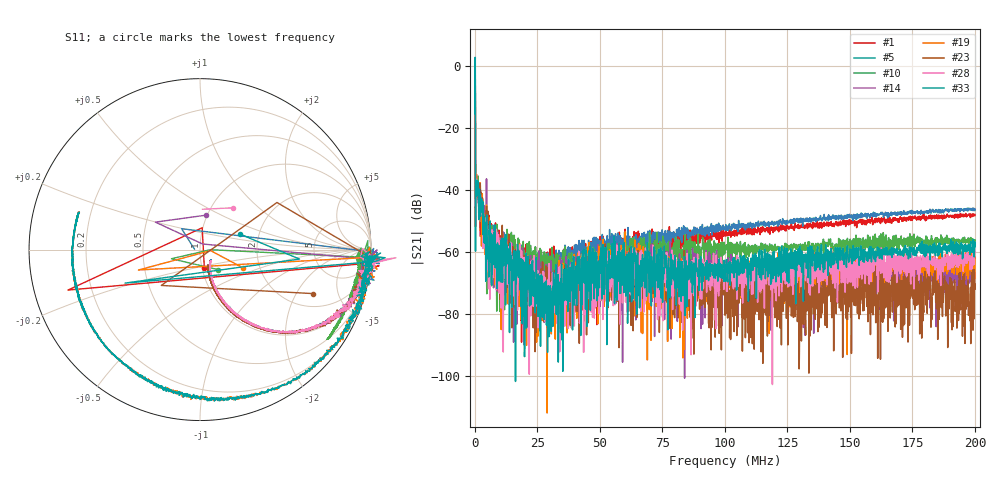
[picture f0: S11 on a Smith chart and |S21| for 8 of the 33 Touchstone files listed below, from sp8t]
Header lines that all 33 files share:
! CHANNEL.1
! TR.MEASUREMENT
! CORRECTED.DATA
# GHZ S RI R 50.0
! FREQ.GHZ  S11RE  S11IM  S21RE  S21IM  S12RE  S12IM  S22RE  S22IM
!; PortSelection: Port_12
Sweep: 50 kHz to 200 MHz
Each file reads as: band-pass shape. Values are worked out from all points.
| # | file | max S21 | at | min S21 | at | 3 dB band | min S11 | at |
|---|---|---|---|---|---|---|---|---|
| 1 | sp8t_p1_rf2.s2p | -3.17 dB | 150 kHz | -89.2 dB | 18.65 MHz | 150 kHz-150 kHz | -21.2 dB | 199.4 MHz |
| 2 | sp8t_p1_rf3.s2p | 8.38 dB | 150 kHz | -88.8 dB | 12.65 MHz | 150 kHz-150 kHz | -21.3 dB | 199.9 MHz |
| 3 | sp8t_p1_rf4.s2p | -3.99 dB | 150 kHz | -87.6 dB | 14.85 MHz | 50 kHz-150 kHz | -4.0 dB | 150 kHz |
| 4 | sp8t_p1_rf5.s2p | -4.62 dB | 150 kHz | -83.2 dB | 10.15 MHz | 150 kHz-150 kHz | -22.1 dB | 150 kHz |
| 5 | sp8t_p1_rf6.s2p | -4.33 dB | 150 kHz | -89.0 dB | 15.65 MHz | 150 kHz-150 kHz | -29.7 dB | 150 kHz |
| 6 | sp8t_p1_rf7.s2p | -8.28 dB | 150 kHz | -84.0 dB | 17.65 MHz | 150 kHz-150 kHz | -20.9 dB | 200 MHz |
| 7 | sp8t_p1_rf8.s2p | -0.27 dB | 50 kHz | -87.3 dB | 24.46 MHz | 50 kHz-150 kHz | -10.9 dB | 150 kHz |
| 8 | sp8t_p2_rf1.s2p | -4.36 dB | 50 kHz | -98.7 dB | 24.06 MHz | 50 kHz-50 kHz | -19.8 dB | 200 MHz |
| 9 | sp8t_p2_rf3.s2p | -6.73 dB | 150 kHz | -88.9 dB | 27.96 MHz | 150 kHz-150 kHz | -31.4 dB | 50 kHz |
| 10 | sp8t_p2_rf4.s2p | -4.75 dB | 50 kHz | -85.6 dB | 57.66 MHz | 50 kHz-150 kHz | -24.4 dB | 250 kHz |
| 11 | sp8t_p2_rf5.s2p | -0.35 dB | 150 kHz | -102.0 dB | 28.66 MHz | 150 kHz-150 kHz | -19.5 dB | 200 MHz |
| 12 | sp8t_p2_rf7.s2p | 1.94 dB | 150 kHz | -104.0 dB | 34.86 MHz | 150 kHz-150 kHz | -21.2 dB | 198.1 MHz |
| 13 | sp8t_p2_rf8.s2p | 0.45 dB | 150 kHz | -100.5 dB | 46.96 MHz | 150 kHz-150 kHz | -15.4 dB | 150 kHz |
| 14 | sp8t_p3_rf1.s2p | -6.49 dB | 150 kHz | -100.8 dB | 83.87 MHz | 150 kHz-150 kHz | -28.8 dB | 250 kHz |
| 15 | sp8t_p3_rf4.s2p | 24.21 dB | 150 kHz | -77.0 dB | 7.552 MHz | 150 kHz-150 kHz | -8.3 dB | 250 kHz |
| 16 | sp8t_p3_rf5.s2p | 0.17 dB | 150 kHz | -104.7 dB | 105.2 MHz | 50 kHz-150 kHz | -19.5 dB | 199.9 MHz |
| 17 | sp8t_p3_rf6.s2p | -7.63 dB | 50 kHz | -93.3 dB | 84.47 MHz | 50 kHz-50 kHz | -21.3 dB | 199.7 MHz |
| 18 | sp8t_p3_rf7.s2p | -1.58 dB | 150 kHz | -96.9 dB | 97.77 MHz | 150 kHz-150 kHz | -20.9 dB | 199.9 MHz |
| 19 | sp8t_p3_rf8.s2p | -8.45 dB | 150 kHz | -112.0 dB | 28.86 MHz | 50 kHz-150 kHz | -24.1 dB | 150 kHz |
| 20 | sp8t_p4_rf1.s2p | -5.46 dB | 150 kHz | -104.9 dB | 116.5 MHz | 50 kHz-150 kHz | -20.6 dB | 150 kHz |
| 21 | sp8t_p4_rf2.s2p | 0.42 dB | 150 kHz | -98.8 dB | 73.57 MHz | 150 kHz-150 kHz | -20.9 dB | 200 MHz |
| 22 | sp8t_p4_rf3.s2p | 8.22 dB | 150 kHz | -98.0 dB | 27.26 MHz | 150 kHz-150 kHz | -12.7 dB | 150 kHz |
| 23 | sp8t_p4_rf5.s2p | -6.44 dB | 150 kHz | -99.2 dB | 133.6 MHz | 50 kHz-150 kHz | -19.8 dB | 200 MHz |
| 24 | sp8t_p4_rf6.s2p | -8.35 dB | 150 kHz | -94.8 dB | 109.6 MHz | 50 kHz-150 kHz | -21.0 dB | 200 MHz |
| 25 | sp8t_p4_rf7.s2p | 10.34 dB | 150 kHz | -91.1 dB | 12.55 MHz | 150 kHz-150 kHz | -29.2 dB | 50 kHz |
| 26 | sp8t_p4_rf8.s2p | 1.63 dB | 150 kHz | -100.4 dB | 48.16 MHz | 150 kHz-150 kHz | -12.4 dB | 150 kHz |
| 27 | sp8t_p5_rf1.s2p | -7.81 dB | 150 kHz | -99.7 dB | 118 MHz | 150 kHz-150 kHz | -28.3 dB | 150 kHz |
| 28 | sp8t_p5_rf2.s2p | -2.27 dB | 50 kHz | -102.8 dB | 119 MHz | 50 kHz-50 kHz | -20.9 dB | 199.9 MHz |
| 29 | sp8t_p5_rf3.s2p | -1.85 dB | 150 kHz | -111.1 dB | 126 MHz | 150 kHz-150 kHz | -15.5 dB | 50 kHz |
| 30 | sp8t_p5_rf4.s2p | -0.97 dB | 150 kHz | -100.7 dB | 82.17 MHz | 150 kHz-150 kHz | -19.4 dB | 199.4 MHz |
| 31 | sp8t_p5_rf6.s2p | -3.41 dB | 150 kHz | -84.2 dB | 22.36 MHz | 150 kHz-150 kHz | -21.3 dB | 200 MHz |
| 32 | sp8t_p5_rf7.s2p | -0.36 dB | 150 kHz | -105.3 dB | 33.76 MHz | 50 kHz-150 kHz | -20.9 dB | 199.5 MHz |
| 33 | sp8t_p5_rf8.s2p | 2.76 dB | 150 kHz | -101.8 dB | 16.25 MHz | 150 kHz-150 kHz | -12.1 dB | 50 kHz |
